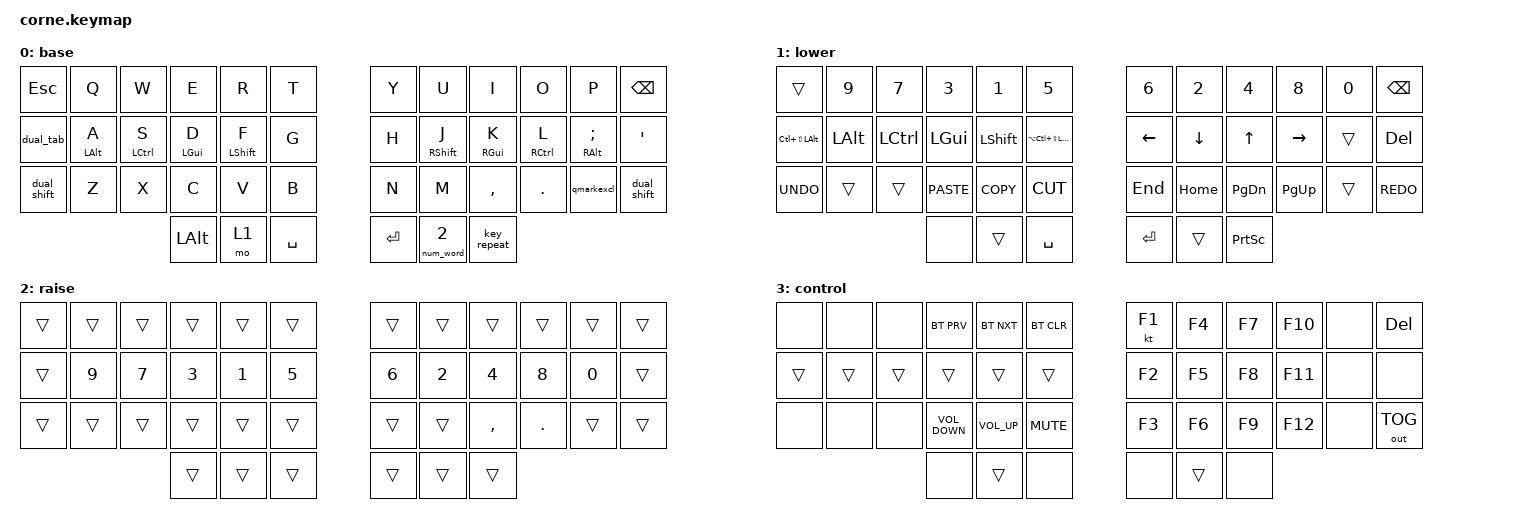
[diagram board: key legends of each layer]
/*
 * Copyright (c) 2020 The ZMK Contributors
 *
 * SPDX-License-Identifier: MIT
 */

#include <behaviors/num_word.dtsi>
#include <behaviors.dtsi>
#include <dt-bindings/zmk/bt.h>
#include <dt-bindings/zmk/keys.h>
#include <dt-bindings/zmk/keys.h>
#include <dt-bindings/zmk/outputs.h>

&sk {
    release-after-ms = <900>;
    quick-release;
};

/ {
    behaviors {
        dual_shift: dual_shift {
            compatible = "zmk,behavior-tap-dance";
            label = "DUAL_SHIFT";
            #binding-cells = <0>;
            bindings = <&sk LEFT_SHIFT>, <&caps_word>;
        };

        dual_tab: dual_tab {
            compatible = "zmk,behavior-tap-dance";
            label = "DUAL_TAB";
            #binding-cells = <0>;
            bindings = <&kp TAB>, <&kp LS(TAB)>;
        };

        qmarkexcl: qmarkexcl {
            compatible = "zmk,behavior-mod-morph";
            label = "QMARKEXCL";
            bindings = <&kp QUESTION>, <&kp EXCLAMATION>;

            #binding-cells = <0>;
            mods = <(MOD_LSFT)>;
        };

        hrml: hrml {
            compatible = "zmk,behavior-hold-tap";
            label = "HRML";
            bindings = <&kp>, <&kp>;

            #binding-cells = <2>;
            flavor = "balanced";
            tapping-term-ms = <200>;
            hold-trigger-on-release;
            require-prior-idle-ms = <150>;
            quick-tap-ms = <175>;
            hold-trigger-key-positions = <5 4 3 2 1 0 12 13 14 15 16 17 24 25 26 27 28 29 36 37 38>;
        };

        hrmr: hrmr {
            compatible = "zmk,behavior-hold-tap";
            label = "HRMR";
            bindings = <&kp>, <&kp>;

            #binding-cells = <2>;
            tapping-term-ms = <200>;
            quick-tap-ms = <175>;
            require-prior-idle-ms = <150>;
            flavor = "balanced";
            hold-trigger-key-positions = <6 7 8 9 10 11 18 19 20 21 22 23 30 31 32 33 34 35 39 40 41>;
            hold-trigger-on-release;
        };
    };

    combos {
        compatible = "zmk,combos";

        AMPERSAND_COMB {
            bindings = <&kp AMPERSAND>;
            key-positions = <21 9>;
        };

        PIPE_COMB {
            bindings = <&kp PIPE>;
            key-positions = <33 21>;
        };

        AT_COMB {
            bindings = <&kp AT>;
            key-positions = <2 14>;
        };

        GRAVE_COMB {
            bindings = <&kp GRAVE>;
            key-positions = <26 14>;
        };

        ASTERISK_COMB {
            bindings = <&kp ASTERISK>;
            key-positions = <8 20>;
        };

        SLASH_COMB {
            bindings = <&kp SLASH>;
            key-positions = <20 32>;
        };

        HASH_COMB {
            bindings = <&kp HASH>;
            key-positions = <3 15>;
        };

        BACKSLASH_COMB {
            bindings = <&kp BACKSLASH>;
            key-positions = <15 27>;
        };

        PLUS_COMB {
            bindings = <&kp PLUS>;
            key-positions = <7 19>;
        };

        MINUS_COMB {
            bindings = <&kp MINUS>;
            key-positions = <19 31>;
        };

        DOLLAR_COMB {
            bindings = <&kp DOLLAR>;
            key-positions = <4 16>;
        };

        EQUAL_COMB {
            bindings = <&kp EQUAL>;
            key-positions = <16 28>;
        };

        CARET_COMB {
            bindings = <&kp CARET>;
            key-positions = <6 18>;
        };

        UNDERSCORE_COMB {
            bindings = <&kp UNDER>;
            key-positions = <18 30>;
        };

        PERCENT_COMB {
            bindings = <&kp PERCENT>;
            key-positions = <5 17>;
        };

        TILDE_COMB {
            bindings = <&kp TILDE>;
            key-positions = <17 29>;
        };

        LEFT_PARENTHESIS_COMBO {
            bindings = <&kp LEFT_PARENTHESIS>;
            key-positions = <16 15>;
        };

        LEFT_BRACE_COMBO {
            bindings = <&kp LEFT_BRACE>;
            key-positions = <15 14>;
        };

        LEFT_BRACKET_COMBO {
            bindings = <&kp LEFT_BRACKET>;
            key-positions = <14 13>;
        };

        RIGHT_PARENTHESIS_COMBO {
            bindings = <&kp RIGHT_PARENTHESIS>;
            key-positions = <19 20>;
        };

        RIGHT_BRACE_COMBO {
            bindings = <&kp RIGHT_BRACE>;
            key-positions = <20 21>;
        };

        RIGHT_BRACKET_COMBO {
            bindings = <&kp RIGHT_BRACKET>;
            key-positions = <21 22>;
        };
    };

    keymap {
        compatible = "zmk,keymap";

        base {
            display-name = "base";
            bindings = <
&kp ESCAPE   &kp Q             &kp W                 &kp E             &kp R               &kp T        &kp Y    &kp U                &kp I              &kp O                  &kp P                 &kp BSPC
&dual_tab    &hrml LEFT_ALT A  &hrml LEFT_CONTROL S  &hrml LEFT_GUI D  &hrml LEFT_SHIFT F  &kp G        &kp H    &hrmr RIGHT_SHIFT J  &hrmr RIGHT_GUI K  &hrmr RIGHT_CONTROL L  &hrmr RIGHT_ALT SEMI  &kp SQT
&dual_shift  &kp Z             &kp X                 &kp C             &kp V               &kp B        &kp N    &kp M                &kp COMMA          &kp DOT                &qmarkexcl            &dual_shift
                                                     &kp LEFT_ALT      &mo 1               &kp SPACE    &kp RET  &num_word 2          &key_repeat
            >;
        };

        lower {
            display-name = "lower";
            bindings = <
&trans                &kp N9        &kp N7            &kp N3        &kp N1      &kp N5                      &kp N6          &kp N2    &kp N4           &kp N8     &kp N0  &kp BSPC
&kp LC(LS(LEFT_ALT))  &kp LEFT_ALT  &kp LEFT_CONTROL  &kp LEFT_GUI  &kp LSHIFT  &kp LA(LC(LS(LEFT_GUI)))    &kp LEFT_ARROW  &kp DOWN  &kp UP_ARROW     &kp RIGHT  &trans  &kp DEL
&kp K_UNDO            &trans        &trans            &kp K_PASTE   &kp K_COPY  &kp K_CUT                   &kp END         &kp HOME  &kp PAGE_DOWN    &kp PG_UP  &trans  &kp K_REDO
                                                      &none         &trans      &kp SPACE                   &kp RET         &trans    &kp PRINTSCREEN
            >;
        };

        raise {
            display-name = "raise";
            bindings = <
&trans  &trans  &trans  &trans  &trans  &trans    &trans  &trans  &trans     &trans   &trans  &trans
&trans  &kp N9  &kp N7  &kp N3  &kp N1  &kp N5    &kp N6  &kp N2  &kp N4     &kp N8   &kp N0  &trans
&trans  &trans  &trans  &trans  &trans  &trans    &trans  &trans  &kp COMMA  &kp DOT  &trans  &trans
                        &trans  &trans  &trans    &trans  &trans  &trans
            >;
        };

        control {
            display-name = "control";
            bindings = <
&none   &none   &none   &bt BT_PRV         &bt BT_NXT       &bt BT_CLR    &kt F1  &kp F4  &kp F7  &kp F10  &none  &kp DELETE
&trans  &trans  &trans  &trans             &trans           &trans        &kp F2  &kp F5  &kp F8  &kp F11  &none  &none
&none   &none   &none   &kp C_VOLUME_DOWN  &kp C_VOLUME_UP  &kp C_MUTE    &kp F3  &kp F6  &kp F9  &kp F12  &none  &out OUT_TOG
                        &none              &trans           &none         &none   &trans  &none
            >;
        };
    };

    conditional_layers {
        compatible = "zmk,conditional-layers";

        control {
            if-layers = <1 2>;
            then-layer = <3>;
        };
    };
};
